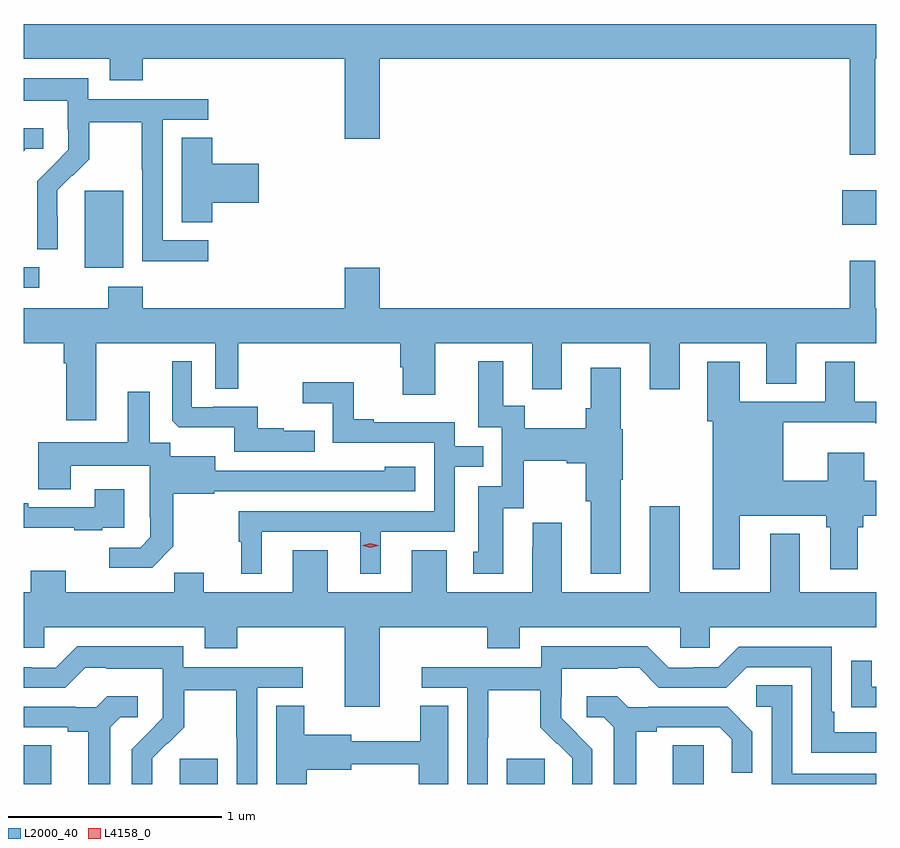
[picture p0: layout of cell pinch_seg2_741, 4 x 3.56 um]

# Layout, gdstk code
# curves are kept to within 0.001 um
import gdstk
lib = gdstk.Library(unit=1e-6, precision=1e-09)
def R(c, l, rs):  # rectangles x0, y0, x1, y1
    for r in rs: c.add(gdstk.rectangle(r[:2], r[2:], *l))
def P(c, l, *ps):  # polygons
    for p in ps: c.add(gdstk.Polygon(p, *l))
L2000_40 = (2000, 40)
L4158_0 = (4158, 0)

pinch_seg2_741 = lib.new_cell('pinch_seg2_741')
R(pinch_seg2_741, L2000_40, [(822.842,646.9,822.973,647.081), (823.574,646.9,823.753,647.019), (825.107,646.9,825.286,647.019), (825.887,646.9,826.032,647.081), (822.842,649.227,822.916,649.323), (823.13,649.322,823.309,649.683), (826.682,649.523,826.842,649.684)])
P(pinch_seg2_741, L2000_40, [(822.842,650.3),(823.247,650.3),(823.247,650.201),(823.4,650.201),(823.4,650.3),(824.348,650.3),(824.348,649.926),(824.512,649.926),(824.512,650.3),(826.716,650.3),(826.716,649.851),(826.837,649.851),(826.837,650.3),(826.842,650.3),(826.842,650.464),(822.842,650.464)],
  [(823.708,649.449),(823.494,649.449),(823.494,650.016),(823.708,650.016),(823.708,650.112),(823.146,650.112),(823.146,650.209),(822.842,650.209),(822.842,650.105),(823.05,650.105),(823.05,649.971),(823.052,649.971),(823.052,649.874),(822.906,649.726),(822.906,649.408),(823.002,649.408),(823.001,649.685),(823.071,649.755),(823.074,649.752),(823.151,649.829),(823.151,650.004),(823.396,650.004),(823.396,649.78),(823.398,649.78),(823.398,649.351),(823.708,649.351)],
  [(822.852,649.878),(822.934,649.878),(822.934,649.975),(822.842,649.975),(822.842,649.868)],
  [(823.727,649.625),(823.945,649.625),(823.945,649.808),(823.727,649.808),(823.727,649.931),(823.583,649.931),(823.583,649.534),(823.727,649.534)],
  [(823.183,648.968),(823.74,648.968),(823.74,648.754),(823.849,648.754),(823.849,648.968),(824.609,648.968),(824.609,648.855),(824.621,648.855),(824.621,648.726),(824.773,648.726),(824.773,648.968),(825.227,648.968),(825.227,648.75),(825.367,648.75),(825.367,648.968),(825.779,648.968),(825.779,648.75),(825.919,648.75),(825.919,648.968),(826.325,648.968),(826.325,648.778),(826.465,648.778),(826.465,648.968),(826.842,648.968),(826.842,649.132),(826.837,649.132),(826.837,649.354),(826.716,649.354),(826.716,649.132),(824.512,649.132),(824.512,649.321),(824.348,649.321),(824.348,649.132),(823.4,649.132),(823.4,649.231),(823.24,649.231),(823.24,649.132),(822.842,649.132),(822.842,648.968),(823.031,648.968),(823.031,648.872),(823.043,648.872),(823.043,648.606),(823.183,648.606)],
  [(825.643,648.327),(825.651,648.327),(825.651,648.564),(825.643,648.564),(825.643,648.853),(825.503,648.853),(825.503,648.663),(825.478,648.663),(825.478,648.568),(825.193,648.568),(825.193,648.674),(825.091,648.674),(825.091,648.883),(824.975,648.883),(824.975,648.573),(825.084,648.573),(825.084,648.297),(824.975,648.297),(824.975,647.988),(824.951,647.988),(824.951,647.886),(825.091,647.886),(825.091,648.194),(825.189,648.194),(825.189,648.416),(825.389,648.416),(825.389,648.404),(825.478,648.404),(825.478,648.227),(825.503,648.227),(825.503,647.885),(825.643,647.885)],
  [(824.207,648.556),(824.063,648.556),(824.063,648.568),(823.94,648.568),(823.94,648.669),(823.732,648.669),(823.732,648.666),(823.632,648.666),(823.632,648.883),(823.539,648.883),(823.539,648.603),(823.571,648.572),(823.83,648.572),(823.83,648.459),(824.207,648.459)],
  [(826.201,648.158),(826.606,648.158),(826.606,648.105),(826.625,648.105),(826.625,647.907),(826.753,647.907),(826.753,648.105),(826.779,648.105),(826.779,648.158),(826.842,648.158),(826.842,648.322),(826.784,648.322),(826.784,648.454),(826.613,648.454),(826.613,648.322),(826.405,648.322),(826.405,648.596),(826.837,648.596),(826.837,648.592),(826.842,648.592),(826.842,648.693),(826.741,648.693),(826.741,648.88),(826.601,648.88),(826.601,648.693),(826.201,648.693),(826.201,648.88),(826.049,648.88),(826.049,648.6),(826.073,648.6),(826.073,647.907),(826.201,647.907)],
  [(823.96,648.084),(824.42,648.084),(824.42,647.885),(824.518,647.885),(824.518,648.084),(824.865,648.084),(824.865,648.387),(824.999,648.387),(824.999,648.483),(824.865,648.483),(824.865,648.597),(824.485,648.597),(824.485,648.61),(824.391,648.61),(824.391,648.785),(824.151,648.785),(824.151,648.686),(824.292,648.686),(824.292,648.501),(824.769,648.501),(824.769,648.18),(823.851,648.18),(823.851,648.036),(823.862,648.036),(823.862,647.885),(823.96,647.885)],
  [(823.545,648.015),(823.545,648.261),(823.737,648.261),(823.737,648.273),(824.68,648.273),(824.68,648.388),(824.535,648.388),(824.535,648.37),(823.741,648.369),(823.741,648.436),(823.53,648.436),(823.53,648.5),(823.435,648.5),(823.435,648.739),(823.331,648.739),(823.331,648.502),(822.911,648.502),(822.911,648.283),(823.063,648.283),(823.063,648.392),(823.434,648.392),(823.434,648.151),(823.436,648.151),(823.436,648.056),(823.389,648.009),(823.245,648.009),(823.245,647.915),(823.445,647.915)],
  [(823.211,648.102),(823.315,648.102),(823.315,648.283),(823.175,648.283),(823.175,648.198),(822.865,648.198),(822.865,648.217),(822.842,648.217),(822.842,648.101),(823.079,648.101),(823.079,648.09),(823.211,648.09)],
  [(824.105,647.995),(824.105,647.8),(823.687,647.8),(823.687,647.891),(823.549,647.891),(823.549,647.8),(823.039,647.8),(823.039,647.899),(822.875,647.899),(822.875,647.8),(822.842,647.8),(822.842,647.538),(822.939,647.538),(822.939,647.636),(823.691,647.636),(823.691,647.537),(823.844,647.537),(823.844,647.636),(824.348,647.636),(824.348,647.262),(824.512,647.262),(824.512,647.636),(825.017,647.636),(825.017,647.537),(825.169,647.537),(825.169,647.636),(825.921,647.636),(825.921,647.538),(826.059,647.538),(826.059,647.636),(826.842,647.636),(826.842,647.8),(826.483,647.8),(826.483,648.073),(826.343,648.073),(826.343,647.8),(825.919,647.8),(825.919,648.202),(825.779,648.202),(825.779,647.8),(825.367,647.8),(825.367,648.124),(825.23,648.124),(825.23,648.011),(825.227,648.011),(825.227,647.8),(824.827,647.8),(824.827,647.995),(824.663,647.995),(824.663,647.8),(824.269,647.8),(824.269,647.995)],
  [(823.445,647.021),(823.515,647.091),(823.518,647.088),(823.595,647.165),(823.595,647.34),(823.84,647.34),(823.84,647.116),(823.842,647.116),(823.842,646.9),(823.938,646.9),(823.938,647.352),(824.152,647.352),(824.152,647.448),(823.59,647.448),(823.59,647.545),(823.093,647.545),(822.993,647.445),(822.878,647.445),(822.878,647.448),(822.842,647.448),(822.842,647.352),(823.038,647.352),(823.131,647.445),(823.231,647.445),(823.231,647.441),(823.494,647.441),(823.494,647.307),(823.496,647.307),(823.496,647.21),(823.35,647.062),(823.35,646.9),(823.445,646.9)],
  [(825.018,647.116),(825.021,647.116),(825.021,647.34),(825.265,647.34),(825.265,647.165),(825.342,647.088),(825.345,647.091),(825.416,647.021),(825.416,646.9),(825.51,646.9),(825.51,647.062),(825.364,647.21),(825.364,647.307),(825.366,647.307),(825.366,647.441),(825.629,647.441),(825.629,647.445),(825.729,647.445),(825.822,647.352),(826.137,647.352),(826.233,647.448),(826.536,647.448),(826.536,647.046),(826.842,647.046),(826.842,647.142),(826.645,647.142),(826.645,647.239),(826.632,647.239),(826.632,647.544),(826.197,647.544),(826.101,647.448),(825.983,647.448),(825.983,647.445),(825.867,647.445),(825.767,647.545),(825.27,647.545),(825.27,647.448),(824.709,647.448),(824.709,647.352),(824.922,647.352),(824.922,646.9),(825.018,646.9)],
  [(826.842,647.355),(826.819,647.355),(826.819,647.479),(826.723,647.479),(826.723,647.26),(826.825,647.26),(826.825,647.259),(826.842,647.259)],
  [(826.842,646.947),(826.446,646.947),(826.446,647.363),(826.278,647.363),(826.278,647.262),(826.35,647.262),(826.35,646.9),(826.842,646.9)],
  [(825.715,647.144),(825.811,647.144),(825.811,647.166),(826.106,647.166),(826.163,647.109),(826.163,646.953),(826.26,646.953),(826.26,647.146),(826.144,647.262),(825.772,647.262),(825.772,647.259),(825.678,647.259),(825.626,647.311),(825.483,647.311),(825.483,647.214),(825.564,647.214),(825.611,647.167),(825.611,646.9),(825.715,646.9)],
  [(823.249,647.167),(823.296,647.214),(823.378,647.214),(823.378,647.311),(823.234,647.311),(823.182,647.259),(823.088,647.259),(823.088,647.262),(822.842,647.262),(822.842,647.166),(823.049,647.166),(823.049,647.144),(823.145,647.144),(823.145,646.9),(823.249,646.9)],
  [(824.171,646.966),(824.38,646.966),(824.38,646.992),(824.695,646.992),(824.695,646.9),(824.833,646.9),(824.833,647.267),(824.702,647.267),(824.702,647.101),(824.38,647.101),(824.38,647.131),(824.158,647.131),(824.158,647.267),(824.027,647.267),(824.027,646.9),(824.171,646.9)])
P(pinch_seg2_741, L4158_0, [(824.469,648.009),(824.433,648.018),(824.433,648.019),(824.433,648.019),(824.469,648.029),(824.505,648.019),(824.505,648.019),(824.505,648.018)])

lib.write_gds('pinch_seg2_741.gds')
